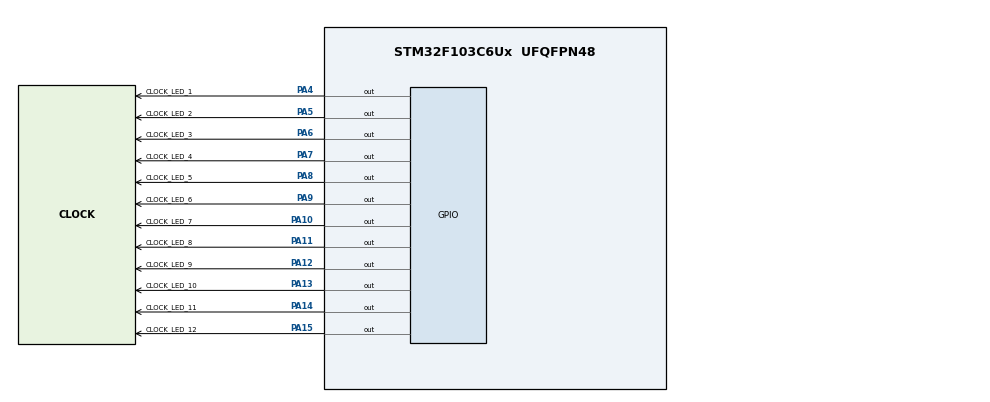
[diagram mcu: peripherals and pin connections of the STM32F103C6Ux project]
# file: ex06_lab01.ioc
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Mcu.Family=STM32F1
Mcu.Name=STM32F103C6Ux
Mcu.Package=UFQFPN48
NVIC.PriorityGroup=NVIC_PRIORITYGROUP_4
PA10.GPIO_Label=CLOCK_LED_7
PA10.PinState=GPIO_PIN_SET
PA10.Signal=GPIO_Output
PA11.GPIO_Label=CLOCK_LED_8
PA11.PinState=GPIO_PIN_SET
PA11.Signal=GPIO_Output
PA12.GPIO_Label=CLOCK_LED_9
PA12.PinState=GPIO_PIN_SET
PA12.Signal=GPIO_Output
PA13.GPIO_Label=CLOCK_LED_10
PA13.PinState=GPIO_PIN_SET
PA13.Signal=GPIO_Output
PA14.GPIO_Label=CLOCK_LED_11
PA14.PinState=GPIO_PIN_SET
PA14.Signal=GPIO_Output
PA15.GPIO_Label=CLOCK_LED_12
PA15.PinState=GPIO_PIN_SET
PA15.Signal=GPIO_Output
PA4.GPIO_Label=CLOCK_LED_1
PA4.PinState=GPIO_PIN_SET
PA4.Signal=GPIO_Output
PA5.GPIO_Label=CLOCK_LED_2
PA5.PinState=GPIO_PIN_SET
PA5.Signal=GPIO_Output
PA6.GPIO_Label=CLOCK_LED_3
PA6.GPIO_Speed=GPIO_SPEED_FREQ_LOW
PA6.PinState=GPIO_PIN_SET
PA6.Signal=GPIO_Output
PA7.GPIO_Label=CLOCK_LED_4
PA7.PinState=GPIO_PIN_SET
PA7.Signal=GPIO_Output
PA8.GPIO_Label=CLOCK_LED_5
PA8.PinState=GPIO_PIN_SET
PA8.Signal=GPIO_Output
PA9.GPIO_Label=CLOCK_LED_6
PA9.PinState=GPIO_PIN_SET
PA9.Signal=GPIO_Output
ProjectManager.HeapSize=0x200
ProjectManager.StackSize=0x400
ProjectManager.TargetToolchain=CMake
RCC.APB1Freq_Value=8000000
RCC.APB2Freq_Value=8000000
VP_SYS_VS_ND.Mode=No_Debug
board=custom

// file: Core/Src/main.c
/* USER CODE BEGIN Header */
/**
  ******************************************************************************
  * @file           : main.c
  * @brief          : Main program body
  ******************************************************************************
  * @attention
  *
  * Copyright (c) 2026 STMicroelectronics.
  * All rights reserved.
  *
  * This software is licensed under terms that can be found in the LICENSE file
  * in the root directory of this software component.
  * If no LICENSE file comes with this software, it is provided AS-IS.
  *
  ******************************************************************************
  */
/* USER CODE END Header */
#include "main.h"

void SystemClock_Config(void);
static void MX_GPIO_Init(void);
/* USER CODE BEGIN PFP */
void testClockLED(uint16_t pin, uint32_t delay_ms);
/* USER CODE END PFP */

/* USER CODE BEGIN 0 */

void testClockLED(uint16_t pin, uint32_t delay_ms)
{
    /* Active-low: logic 0 turns the selected LED on */
    HAL_GPIO_WritePin(GPIOA, pin, GPIO_PIN_RESET);

    /* Keep the selected LED on */
    HAL_Delay(delay_ms);

    /* Active-low: logic 1 turns the selected LED off */
    HAL_GPIO_WritePin(GPIOA, pin, GPIO_PIN_SET);
}

/* USER CODE END 0 */

int main(void)
{

  /* MCU Configuration--------------------------------------------------------*/

  /* Reset of all peripherals, Initializes the Flash interface and the Systick. */
  HAL_Init();

  /* Configure the system clock */
  SystemClock_Config();

  /* Initialize all configured peripherals */
  MX_GPIO_Init();
  /* USER CODE BEGIN 2 */

    /* Turn all clock LEDs off before starting */
    HAL_GPIO_WritePin(
        GPIOA,
        CLOCK_LED_1_Pin  | CLOCK_LED_2_Pin  |
        CLOCK_LED_3_Pin  | CLOCK_LED_4_Pin  |
        CLOCK_LED_5_Pin  | CLOCK_LED_6_Pin  |
        CLOCK_LED_7_Pin  | CLOCK_LED_8_Pin  |
        CLOCK_LED_9_Pin  | CLOCK_LED_10_Pin |
        CLOCK_LED_11_Pin | CLOCK_LED_12_Pin,
        GPIO_PIN_SET
    );

  /* USER CODE END 2 */

  /* Infinite loop */
  /* USER CODE BEGIN WHILE */
  while (1)
{
    testClockLED(CLOCK_LED_1_Pin, 500);
    testClockLED(CLOCK_LED_2_Pin, 500);
    testClockLED(CLOCK_LED_3_Pin, 500);
    testClockLED(CLOCK_LED_4_Pin, 500);
    testClockLED(CLOCK_LED_5_Pin, 500);
    testClockLED(CLOCK_LED_6_Pin, 500);
    testClockLED(CLOCK_LED_7_Pin, 500);
    testClockLED(CLOCK_LED_8_Pin, 500);
    testClockLED(CLOCK_LED_9_Pin, 500);
    testClockLED(CLOCK_LED_10_Pin, 500);
    testClockLED(CLOCK_LED_11_Pin, 500);
    testClockLED(CLOCK_LED_12_Pin, 500);
}
  /* USER CODE END 3 */
}

void SystemClock_Config(void)
{
  RCC_OscInitTypeDef RCC_OscInitStruct = {0};
  RCC_ClkInitTypeDef RCC_ClkInitStruct = {0};

  /** Initializes the RCC Oscillators according to the specified parameters
  * in the RCC_OscInitTypeDef structure.
  */
  RCC_OscInitStruct.OscillatorType = RCC_OSCILLATORTYPE_HSI;
  RCC_OscInitStruct.HSIState = RCC_HSI_ON;
  RCC_OscInitStruct.HSICalibrationValue = RCC_HSICALIBRATION_DEFAULT;
  RCC_OscInitStruct.PLL.PLLState = RCC_PLL_NONE;
  if (HAL_RCC_OscConfig(&RCC_OscInitStruct) != HAL_OK)
  {
    Error_Handler();
  }

  /** Initializes the CPU, AHB and APB buses clocks
  */
  RCC_ClkInitStruct.ClockType = RCC_CLOCKTYPE_HCLK|RCC_CLOCKTYPE_SYSCLK
                              |RCC_CLOCKTYPE_PCLK1|RCC_CLOCKTYPE_PCLK2;
  RCC_ClkInitStruct.SYSCLKSource = RCC_SYSCLKSOURCE_HSI;
  RCC_ClkInitStruct.AHBCLKDivider = RCC_SYSCLK_DIV1;
  RCC_ClkInitStruct.APB1CLKDivider = RCC_HCLK_DIV1;
  RCC_ClkInitStruct.APB2CLKDivider = RCC_HCLK_DIV1;

  if (HAL_RCC_ClockConfig(&RCC_ClkInitStruct, FLASH_LATENCY_0) != HAL_OK)
  {
    Error_Handler();
  }
}

static void MX_GPIO_Init(void)
{
  GPIO_InitTypeDef GPIO_InitStruct = {0};

  /* GPIO Ports Clock Enable */
  __HAL_RCC_GPIOA_CLK_ENABLE();

  /*Configure GPIO pin Output Level */
  HAL_GPIO_WritePin(GPIOA, CLOCK_LED_1_Pin|CLOCK_LED_2_Pin|CLOCK_LED_3_Pin|CLOCK_LED_4_Pin
                          |CLOCK_LED_5_Pin|CLOCK_LED_6_Pin|CLOCK_LED_7_Pin|CLOCK_LED_8_Pin
                          |CLOCK_LED_9_Pin|CLOCK_LED_10_Pin|CLOCK_LED_11_Pin|CLOCK_LED_12_Pin, GPIO_PIN_SET);

  /*Configure GPIO pins : CLOCK_LED_1_Pin CLOCK_LED_2_Pin CLOCK_LED_3_Pin CLOCK_LED_4_Pin
                           CLOCK_LED_5_Pin CLOCK_LED_6_Pin CLOCK_LED_7_Pin CLOCK_LED_8_Pin
                           CLOCK_LED_9_Pin CLOCK_LED_10_Pin CLOCK_LED_11_Pin CLOCK_LED_12_Pin */
  GPIO_InitStruct.Pin = CLOCK_LED_1_Pin|CLOCK_LED_2_Pin|CLOCK_LED_3_Pin|CLOCK_LED_4_Pin
                          |CLOCK_LED_5_Pin|CLOCK_LED_6_Pin|CLOCK_LED_7_Pin|CLOCK_LED_8_Pin
                          |CLOCK_LED_9_Pin|CLOCK_LED_10_Pin|CLOCK_LED_11_Pin|CLOCK_LED_12_Pin;
  GPIO_InitStruct.Mode = GPIO_MODE_OUTPUT_PP;
  GPIO_InitStruct.Pull = GPIO_NOPULL;
  GPIO_InitStruct.Speed = GPIO_SPEED_FREQ_LOW;
  HAL_GPIO_Init(GPIOA, &GPIO_InitStruct);

}

void Error_Handler(void)
{
  __disable_irq();
  while (1)
  {
  }
}
